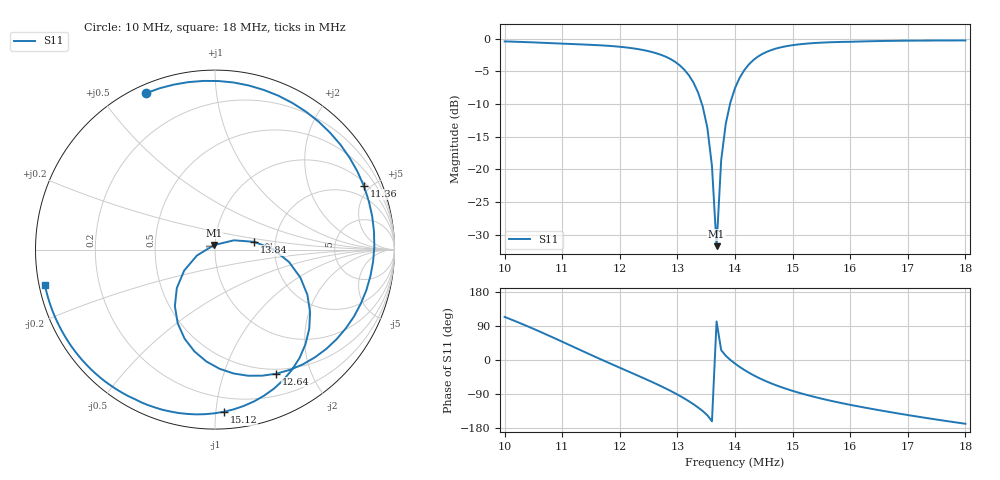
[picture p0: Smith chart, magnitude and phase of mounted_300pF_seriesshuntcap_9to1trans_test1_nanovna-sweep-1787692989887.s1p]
! S11 from mounted_300pF_seriesshuntcap_9to1trans_test1_nanovna-sweep-1787692989887.csv, converted by the rf-network-modeller history importer
# HZ S RI R 50
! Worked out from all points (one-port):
!   101 points, 10 MHz to 18 MHz, reference 50 ohm
!   lowest |S11| = -31.8 dB at 13.68 MHz (marker M1), VSWR 1.05, Z = 49.4 + j2.5 ohm
!   |S11| at or under -10 dB: 13.42 MHz to 13.91 MHz (489.4 kHz wide, 3.58 % of centre)
!   S11 on the Smith chart (normalised r, x): 10 MHz: 0.03, +0.65; 11.36 MHz: 1.21, +4.58; 12.64 MHz: 0.45, -1.52; 13.84 MHz: 1.55, +0.14; 15.12 MHz: 0.11, -1.05; 18 MHz: 0.02, -0.10
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1e7  -0.3819 0.8722
1.032e7  -0.0659 0.9398
1.056e7  0.188 0.9144
1.104e7  0.6404 0.6521
1.136e7  0.8294 0.3544
1.168e7  0.8877 0.0176
1.2e7  0.812 -0.3018
1.232e7  0.6203 -0.553
1.264e7  0.3423 -0.6912
1.288e7  0.1041 -0.6904
1.304e7  -0.0485 -0.6231
1.32e7  -0.1696 -0.4959
1.336e7  -0.2236 -0.3146
1.352e7  -0.1718 -0.1169
1.36e7  -0.1008 -0.0331
1.368e7  -0.00525 0.0253
1.376e7  0.1054 0.0518
1.384e7  0.2194 0.0432
1.4e7  0.4124 -0.0691
1.416e7  0.5146 -0.2512
1.44e7  0.5041 -0.5275
1.472e7  0.3278 -0.7751
1.504e7  0.105 -0.8898
1.512e7  0.0496 -0.9034
1.552e7  -0.2033 -0.9103
1.6e7  -0.4483 -0.8322
1.704e7  -0.8023 -0.536
1.8e7  -0.948 -0.1971
